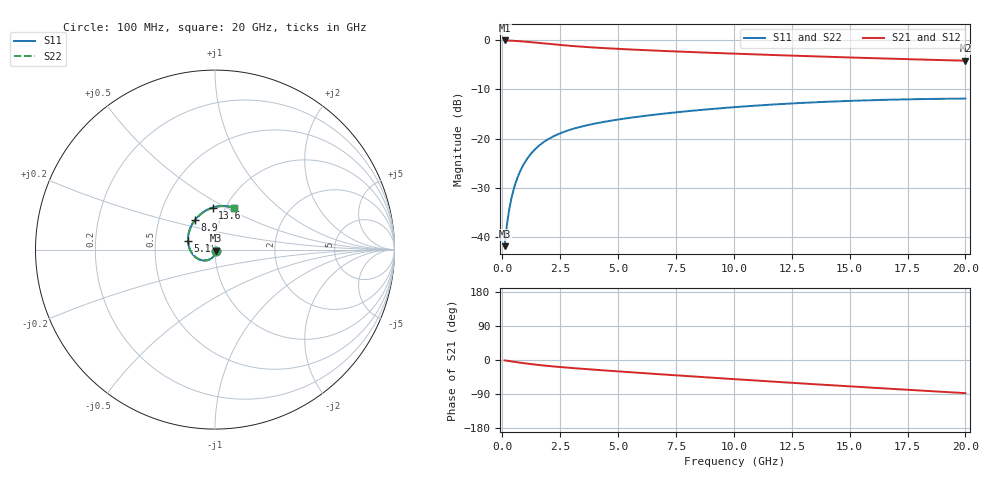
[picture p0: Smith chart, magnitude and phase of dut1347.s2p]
! Touchstone file exported from HFSS 2024.1.0
!  File:  C:/UserFiles/LocalFiles/RDL_TSV_Batchsim/temp_RDL_TSV_1347_1780393158.aedt
!  Generated:  05:53:24 PM Jun  2, 2026
!  Design:  RDL_TSV
!  Project:  temp_RDL_TSV_1347_1780393158
!  Setup:  Setup1
!  Solution:  Sweep
! Variables:
!  dtsv = 13.47um
!  hbump = 3um
!  htsv = 67.04um
!  ldown = 142.02um
!  lrdl = 107.41um
!  p = 40
!  p1 = 41.32um
!  rhole = 10um
!  subl = 855.7um
!  t = 450um
!  tdown = 3.83um
!  trdl = 3.88um
!  viad = 10um
!  wdown = 15.18um
!  wrdl = 19.88um
!  xbump = 18um
# GHz S MA R 50.000000
! Terminal data exported
! Port[1] = TM1_1_T1
! Port[2] = TM1_4_T1
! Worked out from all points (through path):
!   200 points, 100 MHz to 20 GHz, reference 50 ohm
!   highest |S21| = -0.05 dB at 100 MHz (marker M1); lowest = -4.2 dB at 20 GHz (marker M2)
!   group delay of S21, straight-line fit = 11.3 ps
!   lowest |S11| = -41.8 dB at 100 MHz (marker M3), VSWR 1.02, Z = 50.5 - j0.644 ohm
!   |S11| at or under -10 dB: start of sweep to end of sweep
!   |S22| runs from -41.8 to -11.9 dB; largest |S21 - S12| = 3e-13
!   S11 on the Smith chart (normalised r, x): 100 MHz: 1.01, -0.01; 5.1 GHz: 0.74, +0.07; 8.9 GHz: 0.76, +0.26; 13.6 GHz: 0.87, +0.43; 20 GHz: 1.10, +0.54
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0.1  0.00811 -51.8  0.9943 -1.0  0.9943 -1.0  0.00811 -51.8
! Gamma 0 0 0 0
! Port Impedance 50 0 50 0
0.2  0.01341 -72.3  0.9931 -1.9  0.9931 -1.9  0.01341 -72.3
0.3  0.01925 -82.7  0.9913 -2.9  0.9913 -2.9  0.01926 -82.7
0.4  0.02523 -89.9  0.989 -3.8  0.989 -3.8  0.02523 -89.9
0.5  0.03119 -95.6  0.9862 -4.8  0.9862 -4.8  0.03119 -95.6
0.7  0.04276 -104.8  0.9793 -6.5  0.9793 -6.5  0.04277 -104.8
0.8  0.04832 -108.9  0.9753 -7.4  0.9753 -7.4  0.04832 -108.9
1  0.05885 -116.3  0.9664 -9.0  0.9664 -9.0  0.05885 -116.2
1.2  0.06856 -123.0  0.9568 -10.6  0.9568 -10.6  0.06855 -122.9
1.4  0.07743 -129.1  0.9467 -12.0  0.9467 -12.0  0.07742 -129.1
1.7  0.08925 -137.5  0.9314 -14.0  0.9314 -14.0  0.08923 -137.5
2  0.09944 -145.2  0.9166 -15.9  0.9166 -15.9  0.09941 -145.1
2.7  0.1183 -160.5  0.8857 -19.6  0.8857 -19.6  0.1182 -160.4
3.5  0.1343 -174.9  0.8571 -23.5  0.8571 -23.5  0.1341 -174.9
5.1  0.1578 162.2  0.8146 -30.5  0.8146 -30.5  0.1575 162.3
6.8  0.1778 143.2  0.7808 -37.6  0.7808 -37.6  0.1773 143.3
8.9  0.1991 124.3  0.7466 -46.1  0.7466 -46.1  0.1983 124.4
10.1  0.2098 115.1  0.7291 -50.9  0.7291 -50.9  0.2089 115.2
13.4  0.2337 94.2  0.6864 -63.6  0.6864 -63.6  0.2324 94.2
13.6  0.2349 93.1  0.684 -64.3  0.684 -64.3  0.2336 93.1
16.7  0.2488 78.0  0.65 -75.8  0.65 -75.8  0.2473 77.9
20  0.2554 65.1  0.6194 -87.4  0.6194 -87.4  0.2536 65.0
